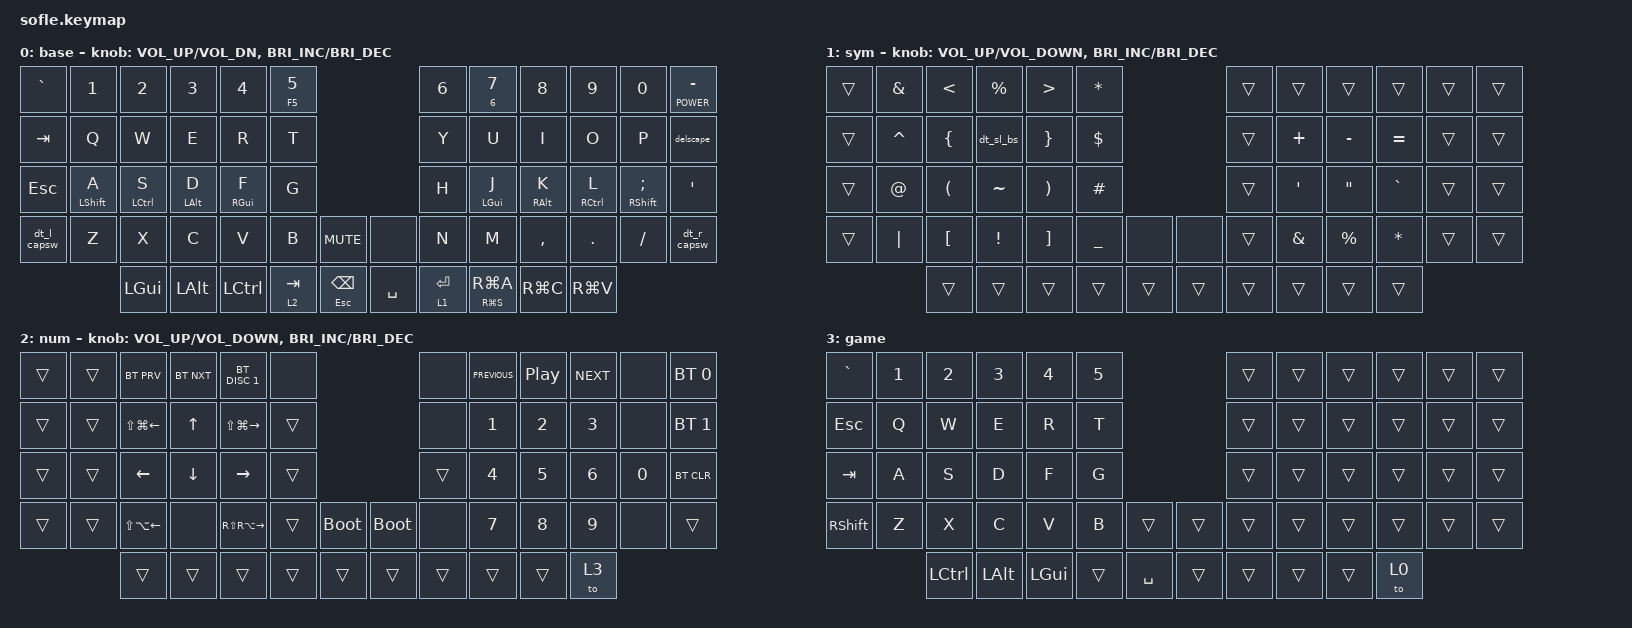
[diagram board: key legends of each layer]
/*
 * Copyright (c) 2020 The ZMK Contributors
 *
 * SPDX-License-Identifier: MIT
 */

#include <behaviors.dtsi>
#include <dt-bindings/zmk/bt.h>
#include <dt-bindings/zmk/keys.h>

#define BASE 0
#define SYM  1
#define NUM  2
#define GAME 3

/ {
    behaviors {
        hml: hml {
            compatible = "zmk,behavior-hold-tap";
            label = "HML";
            bindings = <&kp>, <&kp>;

            #binding-cells = <2>;
            tapping-term-ms = <280>;
            quick-tap-ms = <175>;
            flavor = "balanced";
            hold-trigger-key-positions = <54 53 52 51 50 6 7 8 9 10 11 18 19 20 21 22 23 30 31 32 33 34 35 44 45 46 47 48 49 56 57 58 59 55>;
            hold-trigger-on-release;
        };

        hmr: hmr {
            compatible = "zmk,behavior-hold-tap";
            label = "HMR";
            bindings = <&kp>, <&kp>;

            #binding-cells = <2>;
            tapping-term-ms = <280>;
            quick-tap-ms = <175>;
            hold-trigger-key-positions = <55 56 57 58 59 0 1 2 4 5 12 13 14 15 16 17 24 25 26 27 28 29 36 37 38 39 40 41 50 51 52 53 54 3>;
            hold-trigger-on-release;
            flavor = "balanced";
        };

        dt_r_capsw: dt_r_capsw {
            compatible = "zmk,behavior-tap-dance";
            label = "DT_R_CAPSW";
            #binding-cells = <0>;
            bindings = <&kp RSHIFT>, <&caps_word>;
        };

        dt_sl_bs: dt_sl_bs {
            compatible = "zmk,behavior-tap-dance";
            label = "DT_SL_BS";
            #binding-cells = <0>;
            bindings = <&kp SLASH>, <&kp BSLH>;
        };

        dt_l_capsw: dt_l_capsw {
            compatible = "zmk,behavior-tap-dance";
            label = "DT_L_CAPSW";
            #binding-cells = <0>;
            bindings = <&kp LSHFT>, <&caps_word>;
        };

        dt_space_enter: dt_space_enter {
            compatible = "zmk,behavior-tap-dance";
            label = "DT_SPACE_ENTER";
            #binding-cells = <0>;
            bindings = <&kp SPACE>, <&kp RET>;
        };

        delscape: delscape {
            compatible = "zmk,behavior-tap-dance";
            label = "DELSCAPE";
            #binding-cells = <0>;
            bindings = <&mt BACKSPACE BACKSPACE>, <&kp ESC>;

            tapping-term-ms = <200>;
        };
    };

    combos {
        compatible = "zmk,combos";

        blue_clear {
            bindings = <&bt BT_CLR_ALL>;
            key-positions = <0 36>;
        };
    };

    keymap {
        compatible = "zmk,keymap";

        base {
            display-name = "base";

            /*
             *  DEFAULT                                    
             * ,-----------------------------------------.                    ,-----------------------------------------.
             * |  `   |   1  |   2  |   3  |   4  |   5  |                    |   6  |   7  |   8  |   9  |   0  |  -   |
             * |------+------+------+------+------+------|                    |------+------+------+------+------+------|
             * | ESC  |   Q  |   W  |   E  |   R  |   T  |                    |   Y  |   U  |   I  |   O  |   P  | Bspc |
             * |------+------+------+------+------+------|                    |------+------+------+------+------+------|
             * | Tab  |   A  |   ⌃S |   ⌥D |   ⌘F |   G  |-------.    ,-------|   H  |   ⌘J |   ⌥K |   ⌃L |   ;  |  '   |
             * |------+------+------+------+------+------|  MUTE |    |       |------+------+------+------+------+------|
             * |LShift|   Z  |   X  |   C  |   V  |   B  |-------|    |-------|   N  |   M  |   ,  |   .  |   /  |RShift|
             * `-----------------------------------------/       /     \      \-----------------------------------------'
             *            |   ⌘  |  ⌥   |  ⌃   |Bspc  | /Enter  /       \Space \  | &to1 |  ⌃   |  ⌥   |  ⌘   |
             *            |      |      |      |      |/       /         \      \ |      |      |      |      |
             *            `----------------------------------'           '------''---------------------------'
             */

            bindings = <
&kp GRAVE    &kp N1             &kp N2        &kp N3       &kp N4            &mt F5 N5                                  &kp N6       &mt N6 N7        &kp N8            &kp N9        &kp N0                      &mt C_POWER MINUS
&kp TAB      &kp Q              &kp W         &kp E        &kp R             &kp T                                      &kp Y        &kp U            &kp I             &kp O         &kp P                       &delscape
&kp ESC      &hml LEFT_SHIFT A  &hml LCTRL S  &hml LALT D  &hml RIGHT_GUI F  &kp G                                      &kp H        &hmr LEFT_GUI J  &hmr RIGHT_ALT K  &hmr RCTRL L  &hmr RIGHT_SHIFT SEMICOLON  &kp SQT
&dt_l_capsw  &kp Z              &kp X         &kp C        &kp V             &kp B      &kp C_MUTE           &none      &kp N        &kp M            &kp COMMA         &kp DOT       &kp FSLH                    &dt_r_capsw
                                &kp LGUI      &kp LALT     &kp LCTRL         &lt 2 TAB  &mt ESC BACKSPACE    &kp SPACE  &lt 1 ENTER  &mt RG(S) RG(A)  &kp RG(C)         &kp RG(V)
            >;

            sensor-bindings =
                <&inc_dec_kp C_VOL_UP C_VOL_DN>,
                <&inc_dec_kp C_BRIGHTNESS_INC C_BRIGHTNESS_DEC>;
        };

        sym {
            display-name = "sym";

            /*
             * SYMBOL
             * ,-----------------------------------------.                    ,-----------------------------------------.
             * |      |      |      |      |      |   *  |                    |   &  |   <  |   !  |   >  |   =  |      |
             * |------+------+------+------+------+------|                    |------+------+------+------+------+------|
             * | ESC  |      |   1  |   2  |   3  |   #  |                    |   %  |   {  |   /  |   }  |   -  |      |
             * |------+------+------+------+------+------|                    |------+------+------+------+------+------|
             * | Tab  |      |  ⌃4  |  ⌥5  |  ⌘6  |   |  |-------.    ,-------|   @  |  ⌘(  |  ⌥\  |  ⌃)  |   +  |      |
             * |------+------+------+------+------+------|  MUTE |    |       |------+------+------+------+------+------|
             * |LShift|      |   7  |   8  |   9  |   _  |-------|    |-------|   ^  |   [  |   ?  |   ]  |   /  |      |
             * `-----------------------------------------/       /     \      \-----------------------------------------'
             *            |   ⌘  |  ⌥   |  ⌃   | &to1 | /Enter  /       \Space \  | &to2 |  ⌃   |  ⌥   |  ⌘   |
             *            |      |      |      |      |/       /         \      \ |      |      |      |      |
             *            `----------------------------------'           '------''---------------------------'
             */

            bindings = <
&trans  &kp AMPERSAND  &kp LESS_THAN         &kp PERCENT  &kp GREATER_THAN       &kp ASTRK                     &trans  &trans            &trans             &trans     &trans  &trans
&trans  &kp CARET      &kp LEFT_BRACE        &dt_sl_bs    &kp RIGHT_BRACE        &kp DOLLAR                    &trans  &kp PLUS          &kp MINUS          &kp EQUAL  &trans  &trans
&trans  &kp AT         &kp LEFT_PARENTHESIS  &kp TILDE    &kp RIGHT_PARENTHESIS  &kp HASH                      &trans  &kp SINGLE_QUOTE  &kp DOUBLE_QUOTES  &kp GRAVE  &trans  &trans
&trans  &kp PIPE       &kp LEFT_BRACKET      &kp EXCL     &kp RIGHT_BRACKET      &kp UNDER   &none     &none   &trans  &kp AMPS          &kp PERCENT        &kp ASTRK  &trans  &trans
                       &trans                &trans       &trans                 &trans      &trans    &trans  &trans  &trans            &trans             &trans
            >;

            sensor-bindings =
                <&inc_dec_kp C_VOLUME_UP C_VOLUME_DOWN>,
                <&inc_dec_kp C_BRIGHTNESS_INC C_BRIGHTNESS_DEC>;
        };

        num {
            display-name = "num";

            /*
             * MEDIA
             * ,-----------------------------------------.                    ,-----------------------------------------.
             * |      |      |      |      |      |      |                    |      |      |      |      |      |      |
             * |------+------+------+------+------+------|                    |------+------+------+------+------+------|
             * |      |      |      |      |      |      |                    |      |      |  Up  |      |      |      |
             * |------+------+------+------+------+------|                    |------+------+------+------+------+------|
             * |      |      | ⌘PRV | ⌥PLY | ⌃NXT |      |-------.    ,-------|      | Left | Down |Right |      |      |
             * |------+------+------+------+------+------|  MUTE |    |       |------+------+------+------+------+------|
             * |      |      |      |      |      |      |-------|    |-------|      |      |      |      |      |      |
             * `-----------------------------------------/       /     \      \-----------------------------------------'
             *            |   ⌘  |  ⌥   |  ⌃   | &to1 | /Enter  /       \Space \  | to2  |  ⌃   |  ⌥   |  ⌘   |
             *            |      |      |      |      |/       /         \      \ |      |      |      |      |
             *            `----------------------------------'           '------''---------------------------'
             */

            bindings = <
&trans  &trans  &bt BT_PRV              &bt BT_NXT      &bt BT_DISC 1      &none                               &none   &kp C_PREVIOUS  &kp C_PLAY_PAUSE  &kp C_NEXT    &none   &bt BT_SEL 0
&trans  &trans  &kp LS(LG(LEFT_ARROW))  &kp UP_ARROW    &kp LS(LG(RIGHT))  &trans                              &none   &kp NUMBER_1    &kp NUMBER_2      &kp NUMBER_3  &none   &bt BT_SEL 1
&trans  &trans  &kp LEFT_ARROW          &kp DOWN_ARROW  &kp RIGHT          &trans                              &trans  &kp NUMBER_4    &kp N5            &kp NUMBER_6  &kp N0  &bt BT_CLR
&trans  &trans  &kp LS(LA(LEFT_ARROW))  &none           &kp RS(RA(RIGHT))  &trans  &bootloader    &bootloader  &none   &kp N7          &kp N8            &kp N9        &none   &trans
                &trans                  &trans          &trans             &trans  &trans         &trans       &trans  &trans          &trans            &to 3
            >;

            sensor-bindings =
                <&inc_dec_kp C_VOLUME_UP K_VOLUME_DOWN>,
                <&inc_dec_kp C_BRIGHTNESS_INC C_BRIGHTNESS_DEC>;
        };

        game {
            display-name = "game";
            bindings = <
&kp GRAVE  &kp NUMBER_1  &kp NUMBER_2  &kp NUMBER_3  &kp NUMBER_4  &kp N5                       &trans  &trans  &trans  &trans  &trans  &trans
&kp ESC    &kp Q         &kp W         &kp E         &kp R         &kp T                        &trans  &trans  &trans  &trans  &trans  &trans
&kp TAB    &kp A         &kp S         &kp D         &kp F         &kp G                        &trans  &trans  &trans  &trans  &trans  &trans
&kp RSHFT  &kp Z         &kp X         &kp C         &kp V         &kp B   &trans       &trans  &trans  &trans  &trans  &trans  &trans  &trans
                         &kp LCTRL     &kp LALT      &kp LGUI      &trans  &kp SPACE    &trans  &trans  &trans  &trans  &to 0
            >;
        };
    };
};
